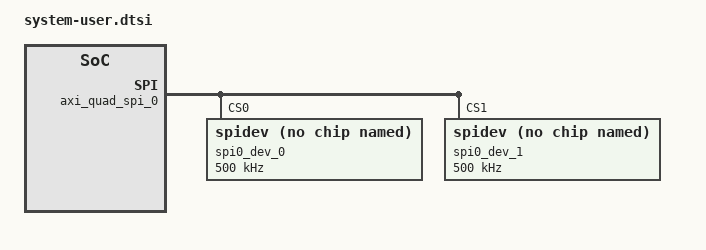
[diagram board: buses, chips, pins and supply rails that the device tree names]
/include/ "system-conf.dtsi"
/ {
};
&amba_pl{
	axidma_chrdev: axidma_chrdev@0 {
		compatible = "xlnx,axidma-chrdev";
		dmas = <&axi_dma_0 0 >;
		dma-names = "rx_channel";
    };
};

&axi_dma_0{
	dma-channel@40400000 {
		xlnx,device-id = <0x0>;
    };
};
&axi_quad_spi_0 {
    status = "okay";
    clock-names = "axi_clk", "axi4_clk", "spi_clk";
    clocks = <&clkc 15>, <&clkc 15>, <&clkc 15>; 
    spi0_dev_0@0 {
        compatible = "spidev";
        reg = <0>;
        spi-max-frequency = <500000>;
        #address-cells = <1>;
        #size-cells = <1>;
    };

    spi0_dev_1@1 {
        compatible = "spidev";
        reg = <1>;
        spi-max-frequency = <500000>;
        #address-cells = <1>;
        #size-cells = <1>;
    };       
}; 

